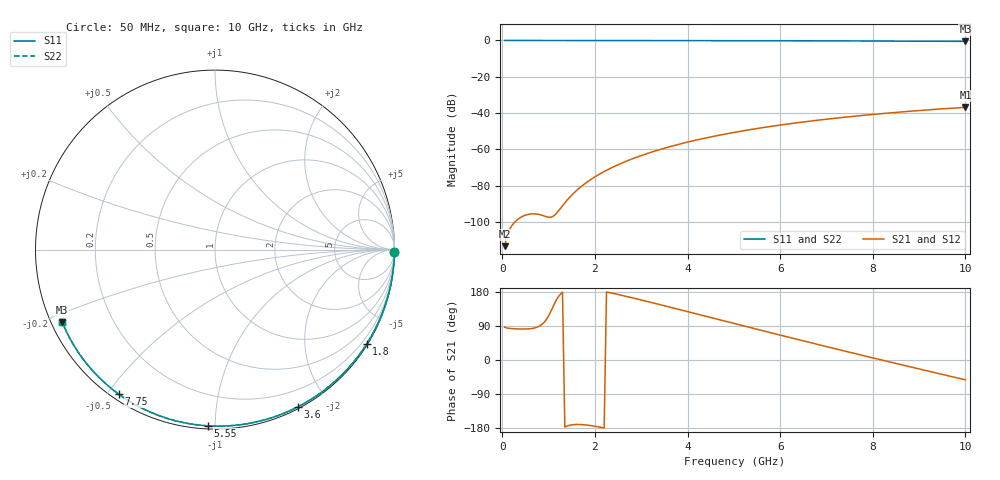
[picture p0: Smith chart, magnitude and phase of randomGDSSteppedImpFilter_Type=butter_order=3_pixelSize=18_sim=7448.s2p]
! freq	dB(S11)	phase(S11)	dB(S12)	phase(S12)
!  dB(S21)	phase(S21)	dB(S22)	phase(S22)
!S-par simulation data
#  GHz  S  DB  R 50
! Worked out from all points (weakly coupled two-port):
!   200 points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, 50 MHz to 10 GHz, reference 50 ohm
!   highest |S21| = -36.86 dB at 10 GHz (marker M1); lowest = -113.4 dB at 50 MHz (marker M2)
!   lowest |S11| = -0.5 dB at 10 GHz (marker M3), VSWR 33.63, Z = 1.56 - j11.3 ohm
!   |S11| at or under -10 dB: nowhere
!   |S22| runs from -0.5 to 0.0 dB; largest |S21 - S12| = 0
!   S11 on the Smith chart (normalised r, x): 50 MHz: open; 1.8 GHz: 0.03, -3.50; 3.6 GHz: 0.02, -1.66; 5.55 GHz: 0.02, -0.96; 7.75 GHz: 0.02, -0.54; 10 GHz: 0.03, -0.23
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0.05  -0.00 -0.9  -113.39 86.6  -113.39 86.6  -0.00 -0.9
0.45  -0.01 -8.1  -96.81 81.7  -96.81 81.7  -0.01 -8.1
0.9  -0.02 -16.1  -96.72 98.8  -96.72 98.8  -0.02 -16.1
1.7  -0.04 -30.2  -80.59 -170.4  -80.59 -170.4  -0.04 -30.2
1.75  -0.04 -31.0  -79.58 -170.8  -79.58 -170.8  -0.04 -31.0
1.8  -0.04 -31.9  -78.62 -171.4  -78.62 -171.4  -0.04 -31.9
1.95  -0.04 -34.5  -75.99 -173.8  -75.99 -173.8  -0.04 -34.5
2.1  -0.05 -37.1  -73.66 -176.9  -73.66 -176.9  -0.05 -37.1
2.3  -0.05 -40.5  -70.92 178.2  -70.92 178.2  -0.05 -40.5
2.5  -0.06 -43.9  -68.50 172.9  -68.50 172.9  -0.06 -43.9
2.9  -0.07 -50.6  -64.36 161.4  -64.36 161.4  -0.07 -50.6
3.4  -0.08 -58.8  -60.15 146.3  -60.15 146.3  -0.08 -58.8
3.6  -0.08 -62.1  -58.68 140.1  -58.68 140.1  -0.08 -62.1
4.3  -0.10 -73.2  -54.27 118.4  -54.27 118.4  -0.10 -73.2
5.05  -0.13 -84.7  -50.47 95.0  -50.47 95.0  -0.13 -84.8
5.55  -0.15 -92.2  -48.34 79.5  -48.34 79.5  -0.15 -92.2
6.1  -0.18 -100.3  -46.27 62.6  -46.27 62.6  -0.18 -100.3
6.7  -0.21 -108.9  -44.29 44.4  -44.29 44.4  -0.21 -108.9
7.75  -0.29 -123.6  -41.39 13.0  -41.39 13.0  -0.29 -123.6
8.35  -0.34 -131.8  -39.98 -4.7  -39.98 -4.7  -0.34 -131.8
9.2  -0.42 -143.4  -38.25 -29.3  -38.25 -29.3  -0.42 -143.5
10  -0.52 -154.5  -36.86 -52.3  -36.86 -52.3  -0.52 -154.5
